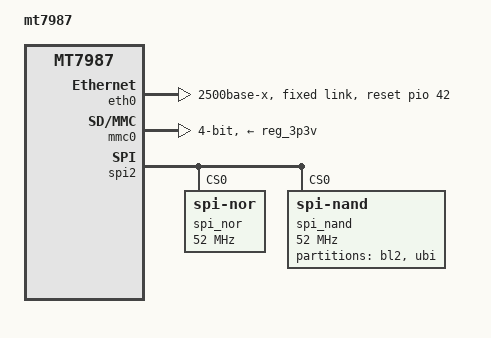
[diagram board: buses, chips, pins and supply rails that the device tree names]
// SPDX-License-Identifier: GPL-2.0

#include "mt7987a-u-boot.dtsi"
#include "mt7987-netsys-u-boot.dtsi"

/ {
	model = "mt7987";
	compatible = "mediatek,mt7987", "mediatek,mt7987-sd-rfb";
};

&eth0 {
	status = "okay";
	pinctrl-names = "default";
	pinctrl-0 = <&mdio0_pins>;
	phy-mode = "2500base-x";
	mediatek,switch = "auto";
	reset-gpios = <&pio 42 GPIO_ACTIVE_HIGH>;

	fixed-link {
		speed = <2500>;
		full-duplex;
		pause;
	};
};

&mmc0 {
	pinctrl-names = "default";
	pinctrl-0 = <&sd_pins_default>;
	max-frequency = <48000000>;
	bus-width = <4>;
	cap-sd-highspeed;
	vmmc-supply = <&reg_3p3v>;
	vqmmc-supply = <&reg_3p3v>;
	status = "okay";
};

&spi2 {
	pinctrl-names = "default";
	pinctrl-0 = <&spi2_flash_pins>;
	#address-cells = <1>;
	#size-cells = <0>;
	status = "okay";
	must_tx;
	enhance_timing;
	dma_ext;
	ipm_design;
	support_quad;
	tick_dly = <2>;
	sample_sel = <0>;

	/delete-node/ spi_nor@0;
	spi_nor@0 {
		compatible = "jedec,spi-nor";
		reg = <0>;
		spi-max-frequency = <52000000>;
		spi-rx-bus-width = <4>;
		spi-tx-bus-width = <4>;
	};

	/delete-node/ spi_nand@0;
	spi_nand@0 {
		compatible = "spi-nand";
		reg = <0>;
		spi-max-frequency = <52000000>;
		spi-rx-bus-width = <4>;
		spi-tx-bus-width = <4>;

		partitions {
			compatible = "fixed-partitions";
			#address-cells = <1>;
			#size-cells = <1>;

			partition@0 {
				label = "bl2";
				reg = <0x0 0x200000>;
			};

			partition@200000 {
				label = "ubi";
				reg = <0x200000 0x7e00000>;
			};
		};
	};
};
